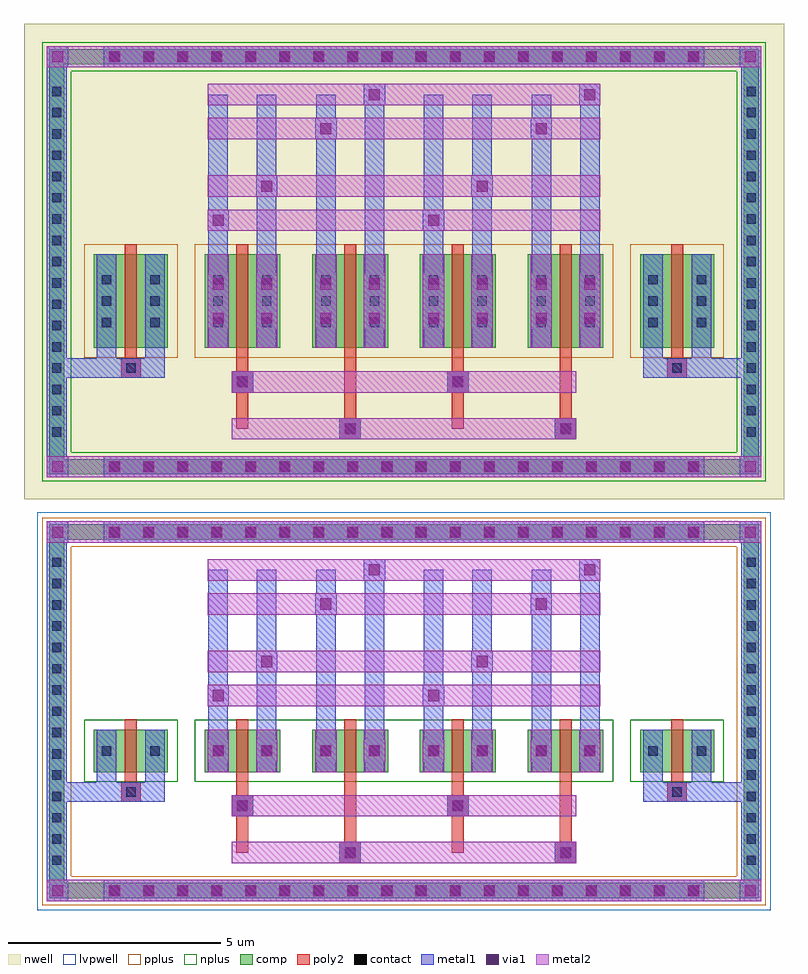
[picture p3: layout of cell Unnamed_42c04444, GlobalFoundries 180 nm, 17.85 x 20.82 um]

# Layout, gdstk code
import gdstk
lib = gdstk.Library(unit=1e-6, precision=5e-09)
def R(c, l, rs):  # rectangles x0, y0, x1, y1
    for r in rs: c.add(gdstk.rectangle(r[:2], r[2:], *l))
def A(c, l, x, y, w, h, nx, ny, dx, dy):  # array of equal rectangles
    R(c, l, [(x+i*dx, y+j*dy, x+i*dx+w, y+j*dy+h) for i in range(nx) for j in range(ny)])
def P(c, l, *ps):  # polygons
    for p in ps: c.add(gdstk.Polygon(p, *l))
nwell = (21, 0)
comp = (22, 0)
poly2 = (30, 0)
pplus = (31, 0)
nplus = (32, 0)
contact = (33, 0)
metal1 = (34, 0)
via1 = (35, 0)
metal2 = (36, 0)
lvpwell = (204, 0)

unnamed_3137ac73_1 = lib.new_cell('Unnamed_3137ac73$1')
A(unnamed_3137ac73_1, comp, -6.98, -4.995, 0.36, 0.36, 18, 2, 0.8, 9.63)
A(unnamed_3137ac73_1, comp, -8.335, -4.18, 0.36, 0.36, 1, 17, 0, 0.5)
A(unnamed_3137ac73_1, comp, 7.975, -4.18, 0.36, 0.36, 1, 17, 0, 0.5)
R(unnamed_3137ac73_1, comp, [(-6.98,-4.995,6.98,-4.635), (-8.335,-4.18,-7.975,4.18), (7.975,-4.18,8.335,4.18), (-6.98,4.635,6.98,4.995)])
P(unnamed_3137ac73_1, comp, [(-8.335,-4.995),(-8.335,-4.635),(-7.975,-4.635),(7.975,-4.635),(7.975,4.635),(-7.975,4.635),(-7.975,-4.635),(-8.335,-4.635),(-8.335,4.995),(8.335,4.995),(8.335,-4.995)])
P(unnamed_3137ac73_1, nplus, [(-8.495,-5.155),(-8.495,-4.475),(-7.815,-4.475),(7.815,-4.475),(7.815,4.475),(-7.815,4.475),(-7.815,-4.475),(-8.495,-4.475),(-8.495,5.155),(8.495,5.155),(8.495,-5.155)])
A(unnamed_3137ac73_1, contact, -6.91, -4.925, 0.22, 0.22, 18, 2, 0.8, 9.63)
A(unnamed_3137ac73_1, contact, -8.265, -4.11, 0.22, 0.22, 1, 17, 0, 0.5)
A(unnamed_3137ac73_1, contact, 8.045, -4.11, 0.22, 0.22, 1, 17, 0, 0.5)
A(unnamed_3137ac73_1, metal1, -7.05, -5.065, 0.5, 0.5, 18, 2, 0.8, 9.63)
A(unnamed_3137ac73_1, metal1, -8.385, -4.23, 0.46, 0.46, 1, 17, 0, 0.5)
A(unnamed_3137ac73_1, metal1, 7.925, -4.23, 0.46, 0.46, 1, 17, 0, 0.5)
R(unnamed_3137ac73_1, metal1, [(-8.385,-5.065,-7.885,-4.565), (-8.385,-5.065,-7.885,-4.565), (-8.385,-5.065,-7.925,-4.635), (-7.05,-5.065,7.05,-4.565), (7.885,-5.065,8.385,-4.565), (7.885,-5.065,8.385,-4.565), (7.925,-5.065,8.385,-4.635), (-8.385,-4.635,-7.925,4.635), (7.925,-4.635,8.385,4.635), (-8.385,4.565,-7.885,5.065), (-8.385,4.565,-7.885,5.065), (-7.05,4.565,7.05,5.065), (7.885,4.565,8.385,5.065), (7.885,4.565,8.385,5.065), (-8.385,4.635,-7.925,5.065), (7.925,4.635,8.385,5.065)])
A(unnamed_3137ac73_1, via1, -6.93, -4.945, 0.26, 0.26, 18, 2, 0.8, 9.63)
R(unnamed_3137ac73_1, via1, [(-8.265,-4.945,-8.005,-4.685), (8.005,-4.945,8.265,-4.685), (-8.265,4.685,-8.005,4.945), (8.005,4.685,8.265,4.945)])
A(unnamed_3137ac73_1, metal2, -7.05, -5.065, 0.5, 0.5, 18, 2, 0.8, 9.63)
R(unnamed_3137ac73_1, metal2, [(-8.385,-5.065,-7.975,-4.565), (-8.385,-5.065,-7.885,-4.565), (-8.385,-5.065,-7.885,-4.565), (-7.975,-5.065,7.975,-4.565), (7.885,-5.065,8.385,-4.565), (7.885,-5.065,8.385,-4.565), (7.975,-5.065,8.385,-4.565), (-8.385,4.565,-7.975,5.065), (-8.385,4.565,-7.885,5.065), (-8.385,4.565,-7.885,5.065), (-7.975,4.565,7.975,5.065), (7.885,4.565,8.385,5.065), (7.885,4.565,8.385,5.065), (7.975,4.565,8.385,5.065)])

straight_route_4eb96b2a = lib.new_cell('straight_route_4eb96b2a')
R(straight_route_4eb96b2a, metal1, [(-8.385,-2.725,-6.645,-2.265)])

straight_route_f457877e = lib.new_cell('straight_route_f457877e')
R(straight_route_f457877e, metal1, [(6.645,-2.725,8.385,-2.265)])

transformed_f42752fd = lib.new_cell('transformed_f42752fd')
R(transformed_f42752fd, nwell, [(-8.925,-5.585,8.925,5.585)])
A(transformed_f42752fd, comp, -4.685, -2.025, 1.78, 2.2, 4, 1, 2.53, 0)
R(transformed_f42752fd, comp, [(-7.285,-2.025,-5.545,0.175), (5.545,-2.025,7.285,0.175)])
A(transformed_f42752fd, poly2, -3.935, -2.265, 0.28, 2.68, 4, 1, 2.53, 0)
R(transformed_f42752fd, poly2, [(-1.515,-4.175,-1.015,-3.675), (3.545,-4.175,4.045,-3.675), (-1.445,-4.105,-1.085,-3.745), (3.615,-4.105,3.975,-3.745), (-3.935,-3.925,-3.655,-2.265), (1.125,-3.925,1.405,-2.265), (-1.405,-3.675,-1.125,-2.265), (3.655,-3.675,3.935,-2.265), (-4.045,-3.075,-3.545,-2.575), (1.015,-3.075,1.515,-2.575), (-3.975,-3.005,-3.615,-2.645), (1.085,-3.005,1.445,-2.645), (-6.645,-2.725,-6.185,-2.265), (6.185,-2.725,6.645,-2.265), (-6.595,-2.675,-6.235,-2.315), (6.235,-2.675,6.595,-2.315), (-3.935,-2.575,-3.655,-2.265), (1.125,-2.575,1.405,-2.265), (-6.555,-2.265,-6.275,0.415), (6.275,-2.265,6.555,0.415)])
A(transformed_f42752fd, pplus, -4.915, -2.255, 2.24, 2.66, 4, 1, 2.53, 0)
R(transformed_f42752fd, pplus, [(-7.515,-2.255,-5.315,0.405), (-4.915,-2.255,4.915,0.405), (5.315,-2.255,7.515,0.405)])
A(transformed_f42752fd, contact, -7.095, -1.535, 0.22, 0.22, 1, 3, 0, 0.5)
A(transformed_f42752fd, contact, -5.955, -1.535, 0.22, 0.22, 1, 3, 0, 0.5)
A(transformed_f42752fd, contact, -4.475, -1.535, 0.22, 0.22, 1, 3, 0, 0.5)
A(transformed_f42752fd, contact, -3.335, -1.535, 0.22, 0.22, 1, 3, 0, 0.5)
A(transformed_f42752fd, contact, -1.945, -1.535, 0.22, 0.22, 1, 3, 0, 0.5)
A(transformed_f42752fd, contact, -0.805, -1.535, 0.22, 0.22, 1, 3, 0, 0.5)
A(transformed_f42752fd, contact, 0.585, -1.535, 0.22, 0.22, 1, 3, 0, 0.5)
A(transformed_f42752fd, contact, 1.725, -1.535, 0.22, 0.22, 1, 3, 0, 0.5)
A(transformed_f42752fd, contact, 3.115, -1.535, 0.22, 0.22, 1, 3, 0, 0.5)
A(transformed_f42752fd, contact, 4.255, -1.535, 0.22, 0.22, 1, 3, 0, 0.5)
A(transformed_f42752fd, contact, 5.735, -1.535, 0.22, 0.22, 1, 3, 0, 0.5)
A(transformed_f42752fd, contact, 6.875, -1.535, 0.22, 0.22, 1, 3, 0, 0.5)
R(transformed_f42752fd, contact, [(-1.375,-4.035,-1.155,-3.815), (3.685,-4.035,3.905,-3.815), (-3.905,-2.935,-3.685,-2.715), (1.155,-2.935,1.375,-2.715), (-6.525,-2.605,-6.305,-2.385), (6.305,-2.605,6.525,-2.385)])
A(transformed_f42752fd, metal1, -7.215, -1.655, 0.46, 0.46, 1, 3, 0, 0.5)
A(transformed_f42752fd, metal1, -6.075, -1.655, 0.46, 0.46, 1, 3, 0, 0.5)
A(transformed_f42752fd, metal1, -4.595, -1.655, 0.46, 0.46, 1, 3, 0, 0.5)
A(transformed_f42752fd, metal1, -3.455, -1.655, 0.46, 0.46, 1, 3, 0, 0.5)
A(transformed_f42752fd, metal1, -2.065, -1.655, 0.46, 0.46, 1, 3, 0, 0.5)
A(transformed_f42752fd, metal1, -0.925, -1.655, 0.46, 0.46, 1, 3, 0, 0.5)
A(transformed_f42752fd, metal1, 0.465, -1.655, 0.46, 0.46, 1, 3, 0, 0.5)
A(transformed_f42752fd, metal1, 1.605, -1.655, 0.46, 0.46, 1, 3, 0, 0.5)
A(transformed_f42752fd, metal1, 2.995, -1.655, 0.46, 0.46, 1, 3, 0, 0.5)
A(transformed_f42752fd, metal1, 4.135, -1.655, 0.46, 0.46, 1, 3, 0, 0.5)
A(transformed_f42752fd, metal1, 5.615, -1.655, 0.46, 0.46, 1, 3, 0, 0.5)
A(transformed_f42752fd, metal1, 6.755, -1.655, 0.46, 0.46, 1, 3, 0, 0.5)
R(transformed_f42752fd, metal1, [(-1.515,-4.175,-1.015,-3.675), (3.545,-4.175,4.045,-3.675), (-4.045,-3.075,-3.545,-2.575), (1.015,-3.075,1.515,-2.575), (-7.215,-2.725,-6.645,-2.265), (-7.215,-2.725,-6.755,-2.025), (-6.645,-2.725,-6.185,-2.265), (-6.185,-2.725,-5.615,-2.265), (-6.075,-2.725,-5.615,-2.025), (5.615,-2.725,6.185,-2.265), (5.615,-2.725,6.075,-2.025), (6.185,-2.725,6.645,-2.265), (6.645,-2.725,7.215,-2.265), (6.755,-2.725,7.215,-2.025), (-7.215,-2.025,-6.755,0.175), (-6.075,-2.025,-5.615,0.175), (-4.595,-2.025,-4.135,0.175), (-3.455,-2.025,-2.995,0.175), (-2.065,-2.025,-1.605,0.175), (-0.925,-2.025,-0.465,0.175), (0.465,-2.025,0.925,0.175), (1.605,-2.025,2.065,0.175), (2.995,-2.025,3.455,0.175), (4.135,-2.025,4.595,0.175), (5.615,-2.025,6.075,0.175), (6.755,-2.025,7.215,0.175), (-4.615,-1.575,-4.115,-1.075), (-4.615,-1.575,-4.115,-0.275), (-3.475,-1.575,-2.975,-1.075), (-3.475,-1.575,-2.975,-0.275), (-2.085,-1.575,-1.585,-1.075), (-2.085,-1.575,-1.585,-0.275), (-0.945,-1.575,-0.445,-1.075), (-0.945,-1.575,-0.445,-0.275), (0.445,-1.575,0.945,-1.075), (0.445,-1.575,0.945,-0.275), (1.585,-1.575,2.085,-1.075), (1.585,-1.575,2.085,-0.275), (2.975,-1.575,3.475,-1.075), (2.975,-1.575,3.475,-0.275), (4.115,-1.575,4.615,-1.075), (4.115,-1.575,4.615,-0.275), (-4.615,-0.775,-4.115,-0.275), (-3.475,-0.775,-2.975,-0.275), (-2.085,-0.775,-1.585,-0.275), (-0.945,-0.775,-0.445,-0.275), (0.445,-0.775,0.945,-0.275), (1.585,-0.775,2.085,-0.275), (2.975,-0.775,3.475,-0.275), (4.115,-0.775,4.615,-0.275), (-4.595,0.175,-4.135,1.225), (-4.595,0.175,-4.135,3.925), (-3.455,0.175,-2.995,2.025), (-3.455,0.175,-2.995,3.925), (-2.065,0.175,-1.605,3.375), (-2.065,0.175,-1.605,3.925), (-0.925,0.175,-0.465,4.175), (-0.925,0.175,-0.465,3.925), (0.465,0.175,0.925,1.225), (0.465,0.175,0.925,3.925), (1.605,0.175,2.065,2.025), (1.605,0.175,2.065,3.925), (2.995,0.175,3.455,3.375), (2.995,0.175,3.455,3.925), (4.135,0.175,4.595,4.175), (4.135,0.175,4.595,3.925), (-4.615,0.725,-4.115,1.225), (0.445,0.725,0.945,1.225), (-3.475,1.525,-2.975,2.025), (1.585,1.525,2.085,2.025), (-2.085,2.875,-1.585,3.375), (2.975,2.875,3.475,3.375), (-0.945,3.675,-0.445,4.175), (4.115,3.675,4.615,4.175)])
R(transformed_f42752fd, via1, [(-1.395,-4.055,-1.135,-3.795), (3.665,-4.055,3.925,-3.795), (-3.925,-2.955,-3.665,-2.695), (1.135,-2.955,1.395,-2.695), (-4.495,-1.455,-4.235,-1.195), (-3.355,-1.455,-3.095,-1.195), (-1.965,-1.455,-1.705,-1.195), (-0.825,-1.455,-0.565,-1.195), (0.565,-1.455,0.825,-1.195), (1.705,-1.455,1.965,-1.195), (3.095,-1.455,3.355,-1.195), (4.235,-1.455,4.495,-1.195), (-4.495,-0.655,-4.235,-0.395), (-3.355,-0.655,-3.095,-0.395), (-1.965,-0.655,-1.705,-0.395), (-0.825,-0.655,-0.565,-0.395), (0.565,-0.655,0.825,-0.395), (1.705,-0.655,1.965,-0.395), (3.095,-0.655,3.355,-0.395), (4.235,-0.655,4.495,-0.395), (-4.495,0.845,-4.235,1.105), (0.565,0.845,0.825,1.105), (-3.355,1.645,-3.095,1.905), (1.705,1.645,1.965,1.905), (-1.965,2.995,-1.705,3.255), (3.095,2.995,3.355,3.255), (-0.825,3.795,-0.565,4.055), (4.235,3.795,4.495,4.055)])
R(transformed_f42752fd, metal2, [(-4.045,-4.175,4.045,-3.675), (-1.515,-4.175,-1.015,-3.675), (-1.515,-4.175,-1.015,-3.675), (3.545,-4.175,4.045,-3.675), (3.545,-4.175,4.045,-3.675), (-4.045,-3.075,-3.545,-2.575), (-4.045,-3.075,-3.545,-2.575), (-4.045,-3.075,4.045,-2.575), (1.015,-3.075,1.515,-2.575), (1.015,-3.075,1.515,-2.575), (-4.615,-2.025,-4.115,0.175), (-3.475,-2.025,-2.975,0.175), (-2.085,-2.025,-1.585,0.175), (-0.945,-2.025,-0.445,0.175), (0.445,-2.025,0.945,0.175), (1.585,-2.025,2.085,0.175), (2.975,-2.025,3.475,0.175), (4.115,-2.025,4.615,0.175), (-4.615,-1.575,-4.115,-1.075), (-3.475,-1.575,-2.975,-1.075), (-2.085,-1.575,-1.585,-1.075), (-0.945,-1.575,-0.445,-1.075), (0.445,-1.575,0.945,-1.075), (1.585,-1.575,2.085,-1.075), (2.975,-1.575,3.475,-1.075), (4.115,-1.575,4.615,-1.075), (-4.615,-0.775,-4.115,-0.275), (-3.475,-0.775,-2.975,-0.275), (-2.085,-0.775,-1.585,-0.275), (-0.945,-0.775,-0.445,-0.275), (0.445,-0.775,0.945,-0.275), (1.585,-0.775,2.085,-0.275), (2.975,-0.775,3.475,-0.275), (4.115,-0.775,4.615,-0.275), (-4.615,0.725,-4.115,1.225), (-4.615,0.725,-2.975,1.225), (-4.615,0.725,4.615,1.225), (0.445,0.725,0.945,1.225), (0.445,0.725,2.085,1.225), (-4.615,1.525,-2.975,2.025), (-4.615,1.525,4.615,2.025), (-3.475,1.525,-2.975,2.025), (0.445,1.525,2.085,2.025), (1.585,1.525,2.085,2.025), (-4.615,2.875,4.615,3.375), (-2.085,2.875,-1.585,3.375), (-2.085,2.875,-0.445,3.375), (2.975,2.875,3.475,3.375), (2.975,2.875,4.615,3.375), (-4.615,3.675,4.615,4.175), (-2.085,3.675,-0.445,4.175), (-0.945,3.675,-0.445,4.175), (2.975,3.675,4.615,4.175), (4.115,3.675,4.615,4.175)])
transformed_f42752fd.add(gdstk.Reference(unnamed_3137ac73_1, (0,0)))
transformed_f42752fd.add(gdstk.Reference(straight_route_4eb96b2a, (0,0)))
transformed_f42752fd.add(gdstk.Reference(straight_route_f457877e, (0,0)))

unnamed_93e77bb9_1 = lib.new_cell('Unnamed_93e77bb9$1')
A(unnamed_93e77bb9_1, comp, -6.98, -4.39, 0.36, 0.36, 18, 2, 0.8, 8.42)
A(unnamed_93e77bb9_1, comp, -8.335, -3.68, 0.36, 0.36, 1, 15, 0, 0.5)
A(unnamed_93e77bb9_1, comp, 7.975, -3.68, 0.36, 0.36, 1, 15, 0, 0.5)
R(unnamed_93e77bb9_1, comp, [(-6.98,-4.39,6.98,-4.03), (-8.335,-3.68,-7.975,3.68), (7.975,-3.68,8.335,3.68), (-6.98,4.03,6.98,4.39)])
P(unnamed_93e77bb9_1, comp, [(-8.335,-4.39),(-8.335,-4.03),(-7.975,-4.03),(7.975,-4.03),(7.975,4.03),(-7.975,4.03),(-7.975,-4.03),(-8.335,-4.03),(-8.335,4.39),(8.335,4.39),(8.335,-4.39)])
P(unnamed_93e77bb9_1, pplus, [(-8.495,-4.55),(-8.495,-3.87),(-7.815,-3.87),(7.815,-3.87),(7.815,3.87),(-7.815,3.87),(-7.815,-3.87),(-8.495,-3.87),(-8.495,4.55),(8.495,4.55),(8.495,-4.55)])
A(unnamed_93e77bb9_1, contact, -6.91, -4.32, 0.22, 0.22, 18, 2, 0.8, 8.42)
A(unnamed_93e77bb9_1, contact, -8.265, -3.61, 0.22, 0.22, 1, 15, 0, 0.5)
A(unnamed_93e77bb9_1, contact, 8.045, -3.61, 0.22, 0.22, 1, 15, 0, 0.5)
A(unnamed_93e77bb9_1, metal1, -7.05, -4.46, 0.5, 0.5, 18, 2, 0.8, 8.42)
A(unnamed_93e77bb9_1, metal1, -8.385, -3.73, 0.46, 0.46, 1, 15, 0, 0.5)
A(unnamed_93e77bb9_1, metal1, 7.925, -3.73, 0.46, 0.46, 1, 15, 0, 0.5)
R(unnamed_93e77bb9_1, metal1, [(-8.385,-4.46,-7.885,-3.96), (-8.385,-4.46,-7.885,-3.96), (-8.385,-4.46,-7.925,-4.03), (-7.05,-4.46,7.05,-3.96), (7.885,-4.46,8.385,-3.96), (7.885,-4.46,8.385,-3.96), (7.925,-4.46,8.385,-4.03), (-8.385,-4.03,-7.925,4.03), (7.925,-4.03,8.385,4.03), (-8.385,3.96,-7.885,4.46), (-8.385,3.96,-7.885,4.46), (-7.05,3.96,7.05,4.46), (7.885,3.96,8.385,4.46), (7.885,3.96,8.385,4.46), (-8.385,4.03,-7.925,4.46), (7.925,4.03,8.385,4.46)])
A(unnamed_93e77bb9_1, via1, -6.93, -4.34, 0.26, 0.26, 18, 2, 0.8, 8.42)
R(unnamed_93e77bb9_1, via1, [(-8.265,-4.34,-8.005,-4.08), (8.005,-4.34,8.265,-4.08), (-8.265,4.08,-8.005,4.34), (8.005,4.08,8.265,4.34)])
A(unnamed_93e77bb9_1, metal2, -7.05, -4.46, 0.5, 0.5, 18, 2, 0.8, 8.42)
R(unnamed_93e77bb9_1, metal2, [(-8.385,-4.46,-7.975,-3.96), (-8.385,-4.46,-7.885,-3.96), (-8.385,-4.46,-7.885,-3.96), (-7.975,-4.46,7.975,-3.96), (7.885,-4.46,8.385,-3.96), (7.885,-4.46,8.385,-3.96), (7.975,-4.46,8.385,-3.96), (-8.385,3.96,-7.975,4.46), (-8.385,3.96,-7.885,4.46), (-8.385,3.96,-7.885,4.46), (-7.975,3.96,7.975,4.46), (7.885,3.96,8.385,4.46), (7.885,3.96,8.385,4.46), (7.975,3.96,8.385,4.46)])

straight_route_c685d277 = lib.new_cell('straight_route_c685d277')
R(straight_route_c685d277, metal1, [(-8.385,-2.13,-6.645,-1.67)])

straight_route_f61ed241 = lib.new_cell('straight_route_f61ed241')
R(straight_route_f61ed241, metal1, [(6.645,-2.13,8.385,-1.67)])

transformed_9df87f77 = lib.new_cell('transformed_9df87f77')
A(transformed_9df87f77, comp, -4.685, -1.43, 1.78, 1, 4, 1, 2.53, 0)
R(transformed_9df87f77, comp, [(-7.285,-1.43,-5.545,-0.43), (5.545,-1.43,7.285,-0.43)])
A(transformed_9df87f77, poly2, -3.935, -1.67, 0.28, 1.48, 4, 1, 2.53, 0)
R(transformed_9df87f77, poly2, [(-1.515,-3.57,-1.015,-3.07), (3.545,-3.57,4.045,-3.07), (-1.445,-3.5,-1.085,-3.14), (3.615,-3.5,3.975,-3.14), (-3.935,-3.32,-3.655,-1.67), (1.125,-3.32,1.405,-1.67), (-1.405,-3.07,-1.125,-1.67), (3.655,-3.07,3.935,-1.67), (-4.045,-2.47,-3.545,-1.97), (1.015,-2.47,1.515,-1.97), (-3.975,-2.4,-3.615,-2.04), (1.085,-2.4,1.445,-2.04), (-6.645,-2.13,-6.185,-1.67), (6.185,-2.13,6.645,-1.67), (-6.595,-2.08,-6.235,-1.72), (6.235,-2.08,6.595,-1.72), (-3.935,-1.97,-3.655,-1.67), (1.125,-1.97,1.405,-1.67), (-6.555,-1.67,-6.275,-0.19), (6.275,-1.67,6.555,-0.19)])
A(transformed_9df87f77, nplus, -4.915, -1.66, 2.24, 1.46, 4, 1, 2.53, 0)
R(transformed_9df87f77, nplus, [(-7.515,-1.66,-5.315,-0.2), (-4.915,-1.66,4.915,-0.2), (5.315,-1.66,7.515,-0.2)])
R(transformed_9df87f77, contact, [(-1.375,-3.43,-1.155,-3.21), (3.685,-3.43,3.905,-3.21), (-3.905,-2.33,-3.685,-2.11), (1.155,-2.33,1.375,-2.11), (-6.525,-2.01,-6.305,-1.79), (6.305,-2.01,6.525,-1.79), (-7.095,-1.04,-6.875,-0.82), (-5.955,-1.04,-5.735,-0.82), (-4.475,-1.04,-4.255,-0.82), (-3.335,-1.04,-3.115,-0.82), (-1.945,-1.04,-1.725,-0.82), (-0.805,-1.04,-0.585,-0.82), (0.585,-1.04,0.805,-0.82), (1.725,-1.04,1.945,-0.82), (3.115,-1.04,3.335,-0.82), (4.255,-1.04,4.475,-0.82), (5.735,-1.04,5.955,-0.82), (6.875,-1.04,7.095,-0.82)])
R(transformed_9df87f77, metal1, [(-1.515,-3.57,-1.015,-3.07), (3.545,-3.57,4.045,-3.07), (-4.045,-2.47,-3.545,-1.97), (1.015,-2.47,1.515,-1.97), (-7.215,-2.13,-6.645,-1.67), (-7.215,-2.13,-6.755,-1.43), (-6.645,-2.13,-6.185,-1.67), (-6.185,-2.13,-5.615,-1.67), (-6.075,-2.13,-5.615,-1.43), (5.615,-2.13,6.185,-1.67), (5.615,-2.13,6.075,-1.43), (6.185,-2.13,6.645,-1.67), (6.645,-2.13,7.215,-1.67), (6.755,-2.13,7.215,-1.43), (-7.215,-1.43,-6.755,-0.43), (-6.075,-1.43,-5.615,-0.43), (-4.595,-1.43,-4.135,-0.43), (-3.455,-1.43,-2.995,-0.43), (-2.065,-1.43,-1.605,-0.43), (-0.925,-1.43,-0.465,-0.43), (0.465,-1.43,0.925,-0.43), (1.605,-1.43,2.065,-0.43), (2.995,-1.43,3.455,-0.43), (4.135,-1.43,4.595,-0.43), (5.615,-1.43,6.075,-0.43), (6.755,-1.43,7.215,-0.43), (-4.615,-1.18,-4.115,-0.68), (-4.615,-1.18,-4.115,-0.68), (-3.475,-1.18,-2.975,-0.68), (-3.475,-1.18,-2.975,-0.68), (-2.085,-1.18,-1.585,-0.68), (-2.085,-1.18,-1.585,-0.68), (-0.945,-1.18,-0.445,-0.68), (-0.945,-1.18,-0.445,-0.68), (0.445,-1.18,0.945,-0.68), (0.445,-1.18,0.945,-0.68), (1.585,-1.18,2.085,-0.68), (1.585,-1.18,2.085,-0.68), (2.975,-1.18,3.475,-0.68), (2.975,-1.18,3.475,-0.68), (4.115,-1.18,4.615,-0.68), (4.115,-1.18,4.615,-0.68), (-7.215,-1.16,-6.755,-0.7), (-6.075,-1.16,-5.615,-0.7), (-4.595,-1.16,-4.135,-0.7), (-3.455,-1.16,-2.995,-0.7), (-2.065,-1.16,-1.605,-0.7), (-0.925,-1.16,-0.465,-0.7), (0.465,-1.16,0.925,-0.7), (1.605,-1.16,2.065,-0.7), (2.995,-1.16,3.455,-0.7), (4.135,-1.16,4.595,-0.7), (5.615,-1.16,6.075,-0.7), (6.755,-1.16,7.215,-0.7), (-4.595,-0.43,-4.135,0.62), (-4.595,-0.43,-4.135,3.32), (-3.455,-0.43,-2.995,1.42), (-3.455,-0.43,-2.995,3.32), (-2.065,-0.43,-1.605,2.77), (-2.065,-0.43,-1.605,3.32), (-0.925,-0.43,-0.465,3.57), (-0.925,-0.43,-0.465,3.32), (0.465,-0.43,0.925,0.62), (0.465,-0.43,0.925,3.32), (1.605,-0.43,2.065,1.42), (1.605,-0.43,2.065,3.32), (2.995,-0.43,3.455,2.77), (2.995,-0.43,3.455,3.32), (4.135,-0.43,4.595,3.57), (4.135,-0.43,4.595,3.32), (-4.615,0.12,-4.115,0.62), (0.445,0.12,0.945,0.62), (-3.475,0.92,-2.975,1.42), (1.585,0.92,2.085,1.42), (-2.085,2.27,-1.585,2.77), (2.975,2.27,3.475,2.77), (-0.945,3.07,-0.445,3.57), (4.115,3.07,4.615,3.57)])
R(transformed_9df87f77, via1, [(-1.395,-3.45,-1.135,-3.19), (3.665,-3.45,3.925,-3.19), (-3.925,-2.35,-3.665,-2.09), (1.135,-2.35,1.395,-2.09), (-4.495,-1.06,-4.235,-0.8), (-3.355,-1.06,-3.095,-0.8), (-1.965,-1.06,-1.705,-0.8), (-0.825,-1.06,-0.565,-0.8), (0.565,-1.06,0.825,-0.8), (1.705,-1.06,1.965,-0.8), (3.095,-1.06,3.355,-0.8), (4.235,-1.06,4.495,-0.8), (-4.495,0.24,-4.235,0.5), (0.565,0.24,0.825,0.5), (-3.355,1.04,-3.095,1.3), (1.705,1.04,1.965,1.3), (-1.965,2.39,-1.705,2.65), (3.095,2.39,3.355,2.65), (-0.825,3.19,-0.565,3.45), (4.235,3.19,4.495,3.45)])
R(transformed_9df87f77, metal2, [(-4.045,-3.57,4.045,-3.07), (-1.515,-3.57,-1.015,-3.07), (-1.515,-3.57,-1.015,-3.07), (3.545,-3.57,4.045,-3.07), (3.545,-3.57,4.045,-3.07), (-4.045,-2.47,-3.545,-1.97), (-4.045,-2.47,-3.545,-1.97), (-4.045,-2.47,4.045,-1.97), (1.015,-2.47,1.515,-1.97), (1.015,-2.47,1.515,-1.97), (-4.615,-1.43,-4.115,-0.43), (-3.475,-1.43,-2.975,-0.43), (-2.085,-1.43,-1.585,-0.43), (-0.945,-1.43,-0.445,-0.43), (0.445,-1.43,0.945,-0.43), (1.585,-1.43,2.085,-0.43), (2.975,-1.43,3.475,-0.43), (4.115,-1.43,4.615,-0.43), (-4.615,-1.18,-4.115,-0.68), (-3.475,-1.18,-2.975,-0.68), (-2.085,-1.18,-1.585,-0.68), (-0.945,-1.18,-0.445,-0.68), (0.445,-1.18,0.945,-0.68), (1.585,-1.18,2.085,-0.68), (2.975,-1.18,3.475,-0.68), (4.115,-1.18,4.615,-0.68), (-4.615,0.12,-4.115,0.62), (-4.615,0.12,-2.975,0.62), (-4.615,0.12,4.615,0.62), (0.445,0.12,0.945,0.62), (0.445,0.12,2.085,0.62), (-4.615,0.92,-2.975,1.42), (-4.615,0.92,4.615,1.42), (-3.475,0.92,-2.975,1.42), (0.445,0.92,2.085,1.42), (1.585,0.92,2.085,1.42), (-4.615,2.27,4.615,2.77), (-2.085,2.27,-1.585,2.77), (-2.085,2.27,-0.445,2.77), (2.975,2.27,3.475,2.77), (2.975,2.27,4.615,2.77), (-4.615,3.07,4.615,3.57), (-2.085,3.07,-0.445,3.57), (-0.945,3.07,-0.445,3.57), (2.975,3.07,4.615,3.57), (4.115,3.07,4.615,3.57)])
R(transformed_9df87f77, lvpwell, [(-8.615,-4.67,8.615,4.67)])
transformed_9df87f77.add(gdstk.Reference(unnamed_93e77bb9_1, (0,0)))
transformed_9df87f77.add(gdstk.Reference(straight_route_c685d277, (0,0)))
transformed_9df87f77.add(gdstk.Reference(straight_route_f61ed241, (0,0)))

unnamed_42c04444 = lib.new_cell('Unnamed_42c04444')
unnamed_42c04444.add(gdstk.Reference(transformed_f42752fd, (0,10.56)))
unnamed_42c04444.add(gdstk.Reference(transformed_9df87f77, (0,0)))

lib.write_gds('Unnamed_42c04444.gds')
